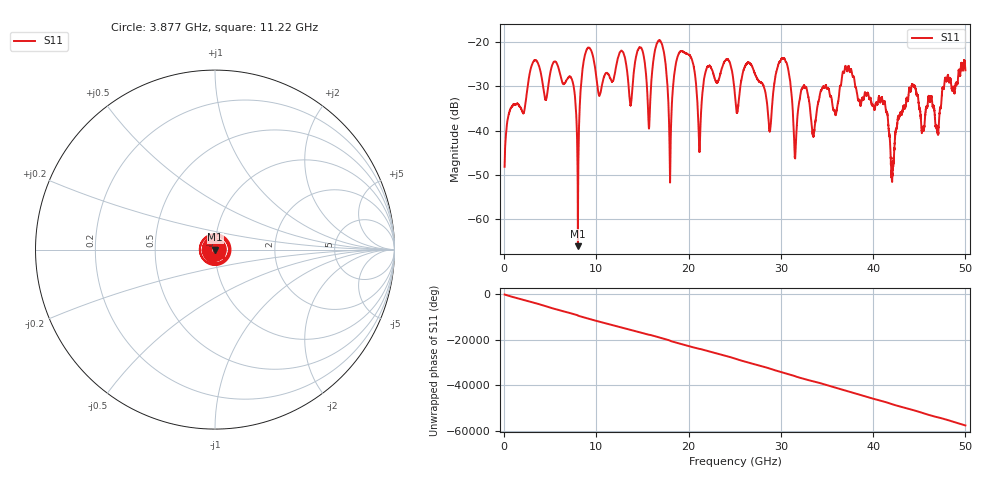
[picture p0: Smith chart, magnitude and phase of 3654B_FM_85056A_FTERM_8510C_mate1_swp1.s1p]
!Created with skrf (http://scikit-rf.org).
# Hz S RI R 50.0
!freq ReS11 ImS11
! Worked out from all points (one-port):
!   10001 points, 45 MHz to 50 GHz, reference 50 ohm
!   lowest |S11| = -66.0 dB at 7.993 GHz (marker M1), VSWR 1.00, Z = 50 + j0.0181 ohm
!   |S11| at or under -10 dB: start of sweep to end of sweep
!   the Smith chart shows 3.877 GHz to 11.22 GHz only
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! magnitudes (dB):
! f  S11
! 45 MHz  -48.1
! 3.207 GHz  -24.3
! 6.289 GHz  -29.1
! 7.383 GHz  -28.6
! 7.993 GHz  -66.0
! 8.957 GHz  -21.6
! 10.35 GHz  -32.0
! 12.53 GHz  -22.3
! 13.7 GHz  -34.3
! 14.87 GHz  -21.3
! 15.7 GHz  -39.3
! 16.94 GHz  -19.7
! 18 GHz  -50.3
! 18.78 GHz  -23.4
! 20.34 GHz  -23.8
! 21.17 GHz  -44.7
! 22.12 GHz  -25.5
! 25.02 GHz  -32.0
! 26.62 GHz  -24.7
! 28.8 GHz  -40.2
! 30.25 GHz  -23.6
! 31.27 GHz  -34.8
! 37.51 GHz  -26.6
! 41.11 GHz  -33.9
! 42.07 GHz  -50.8
! 43.76 GHz  -33.3
! 46.94 GHz  -39.9
! 50 GHz  -26.3
